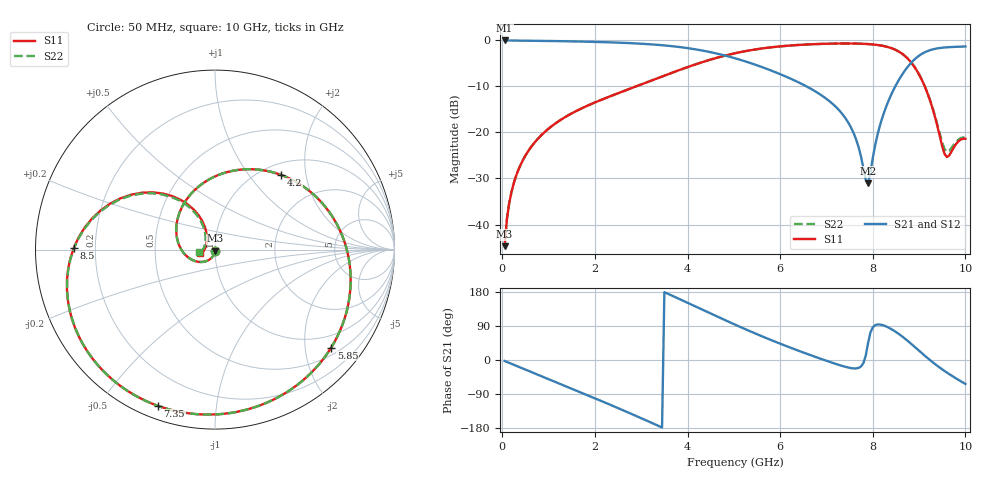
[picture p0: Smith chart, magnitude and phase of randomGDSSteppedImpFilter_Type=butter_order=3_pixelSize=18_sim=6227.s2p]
! freq	dB(S11)	phase(S11)	dB(S12)	phase(S12)
!  dB(S21)	phase(S21)	dB(S22)	phase(S22)
!S-par simulation data
#  GHz  S  DB  R 50
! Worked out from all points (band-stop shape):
!   200 points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, 50 MHz to 10 GHz, reference 50 ohm
!   highest |S21| = 0.00 dB at 50 MHz (marker M1); lowest = -31.0 dB at 7.9 GHz (marker M2)
!   |S21| within 3 dB of the highest: start of sweep to 4.699 GHz; 9.046 GHz to end of sweep
!   lowest |S11| = -44.7 dB at 50 MHz (marker M3), VSWR 1.01, Z = 50 - j0.581 ohm
!   |S11| at or under -10 dB: start of sweep to 2.884 GHz; 9.122 GHz to end of sweep
!   |S22| runs from -44.7 to -0.7 dB; largest |S21 - S12| = 0
!   S11 on the Smith chart (normalised r, x): 50 MHz: 1.00, -0.01; 4.2 GHz: 1.21, +1.45; 5.85 GHz: 0.67, -2.58; 7.35 GHz: 0.06, -0.70; 8.5 GHz: 0.12, +0.01; 10 GHz: 0.85, -0.03
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0.05  -44.71 -91.1  -0.00 -2.6  -0.00 -2.6  -44.71 -91.1
0.1  -38.79 -94.1  -0.01 -5.1  -0.01 -5.1  -38.79 -94.1
0.2  -32.86 -99.8  -0.02 -10.1  -0.02 -10.1  -32.86 -99.8
0.5  -25.00 -115.8  -0.05 -25.2  -0.05 -25.2  -25.00 -115.8
1.15  -18.01 -148.9  -0.14 -57.8  -0.14 -57.8  -18.01 -148.8
1.75  -14.59 -179.4  -0.25 -88.2  -0.25 -88.2  -14.59 -179.4
2.5  -11.47 141.8  -0.48 -126.9  -0.48 -126.9  -11.47 141.8
3.4  -8.03 93.3  -0.99 -175.4  -0.99 -175.4  -8.03 93.4
4.2  -5.11 48.5  -1.98 139.6  -1.98 139.6  -5.11 48.6
5.05  -2.73 1.2  -3.94 92.0  -3.94 92.0  -2.73 1.3
5.85  -1.44 -40.2  -6.71 50.4  -6.71 50.4  -1.44 -40.0
6.7  -0.82 -80.0  -10.72 10.8  -10.72 10.8  -0.82 -79.9
7.35  -0.66 -110.1  -16.09 -16.0  -16.09 -16.0  -0.66 -109.9
7.65  -0.68 -125.0  -21.80 -22.1  -21.80 -22.1  -0.68 -124.7
7.9  -0.79 -138.6  -31.03 45.4  -31.03 45.4  -0.79 -138.4
8.1  -0.98 -150.9  -20.59 93.8  -20.59 93.8  -0.98 -150.6
8.35  -1.50 -168.6  -12.88 85.0  -12.88 85.0  -1.50 -168.2
8.5  -2.09 179.2  -9.72 74.1  -9.72 74.1  -2.08 179.7
8.85  -5.06 146.8  -4.63 40.5  -4.63 40.5  -5.04 147.6
9.25  -13.46 115.5  -2.07 -1.7  -2.07 -1.7  -13.33 117.6
9.6  -25.34 160.2  -1.49 -33.1  -1.49 -33.1  -24.20 159.2
10  -21.36 -168.0  -1.32 -63.2  -1.32 -63.2  -21.11 -172.2
